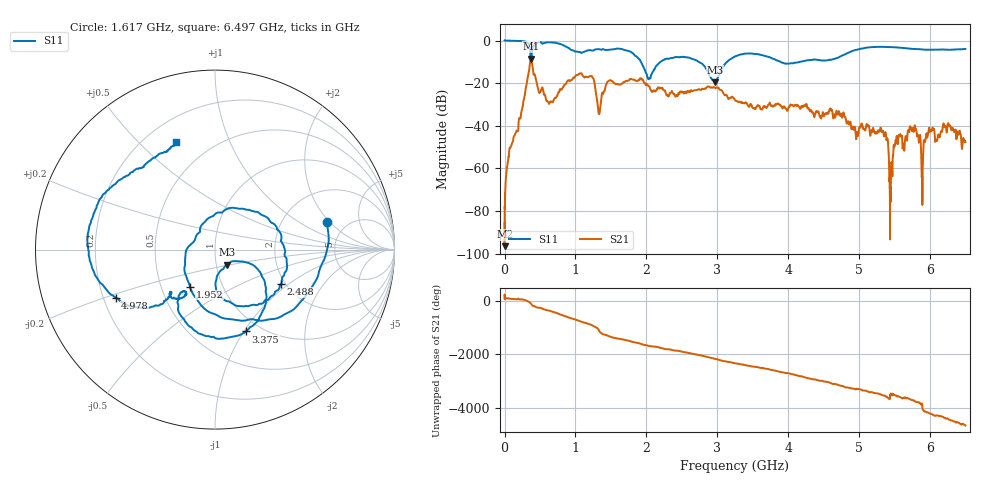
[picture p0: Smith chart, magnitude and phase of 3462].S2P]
!Keysight Technologies,E5063A,MY54503115,A.05.08
!Date: Mon Dec 04 18:08:22 2023
!Data & Calibration Information:
!Freq	S11:NONE(--)	S21:NONE(--)	S12:NONE(--)	S22:NONE(--)
# Hz S dB R 50
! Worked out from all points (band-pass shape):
!   10001 points, 100 kHz to 6.5 GHz, reference 50 ohm
!   highest |S21| = -8.44 dB at 370.6 MHz (marker M1); lowest = -96.5 dB at 750 kHz (marker M2)
!   |S21| within 3 dB of the highest: 355.3 MHz to 390.5 MHz (35.2 MHz wide, 9.44 % of centre)
!   lowest |S11| = -19.5 dB at 2.969 GHz (marker M3), VSWR 1.24, Z = 56.1 - j9.46 ohm
!   |S11| at or under -10 dB: 1.924 GHz to 2.197 GHz (273.4 MHz wide, 13.3 % of centre); 2.739 GHz to 3.139 GHz (400.2 MHz wide, 13.6 % of centre); 3.893 GHz to 4.167 GHz (273.3 MHz wide, 6.78 % of centre)
!   S12 and S22 are empty: the file has one direction only
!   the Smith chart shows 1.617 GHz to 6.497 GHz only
!   S11 on the Smith chart (normalised r, x): 1.617 GHz: 3.53, +1.87; 1.952 GHz: 0.70, -0.31; 2.488 GHz: 1.90, -0.87; 3.375 GHz: 0.85, -1.02; 4.978 GHz: 0.25, -0.22; 6.497 GHz: 0.32, +0.65
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100000  0.05 -0.5  -85.58 77.0  -200.00 0.0  -200.00 0.0
749990  0.00 -0.6  -96.49 -132.8  -200.00 0.0  -200.00 0.0
2.321464e8  -0.20 -76.3  -34.42 52.0  -200.00 0.0  -200.00 0.0
3.705943e8  -9.41 -129.7  -8.44 -116.1  -200.00 0.0  -200.00 0.0
5.83791e8  -0.93 171.3  -27.70 7.8  -200.00 0.0  -200.00 0.0
7.306888e8  -1.15 97.5  -26.43 -97.7  -200.00 0.0  -200.00 0.0
8.769365e8  -2.99 2.4  -19.39 119.8  -200.00 0.0  -200.00 0.0
1.083633e9  -5.79 -156.5  -15.34 -66.8  -200.00 0.0  -200.00 0.0
1.31308e9  -4.08 99.4  -30.08 43.3  -200.00 0.0  -200.00 0.0
1.617275e9  -3.84 14.0  -20.67 18.2  -200.00 0.0  -200.00 0.0
1.95202e9  -12.07 -124.0  -18.42 164.1  -200.00 0.0  -200.00 0.0
2.167167e9  -11.00 52.2  -21.97 65.3  -200.00 0.0  -200.00 0.0
2.488262e9  -7.67 -27.4  -23.90 -93.0  -200.00 0.0  -200.00 0.0
2.968604e9  -19.50 -51.9  -22.29 -7.9  -200.00 0.0  -200.00 0.0
3.25005e9  -7.47 -49.2  -27.86 -172.6  -200.00 0.0  -200.00 0.0
3.375498e9  -6.25 -69.4  -29.36 130.9  -200.00 0.0  -200.00 0.0
4.333583e9  -9.02 -130.1  -33.62 -37.6  -200.00 0.0  -200.00 0.0
4.978373e9  -4.22 -154.2  -43.14 -56.5  -200.00 0.0  -200.00 0.0
5.417117e9  -3.07 162.2  -52.75 -42.3  -200.00 0.0  -200.00 0.0
5.733012e9  -3.82 140.6  -41.10 -90.9  -200.00 0.0  -200.00 0.0
6.4974e9  -3.92 109.8  -47.18 39.1  -200.00 0.0  -200.00 0.0
6.5e9  -3.93 109.6  -47.67 33.2  -200.00 0.0  -200.00 0.0
